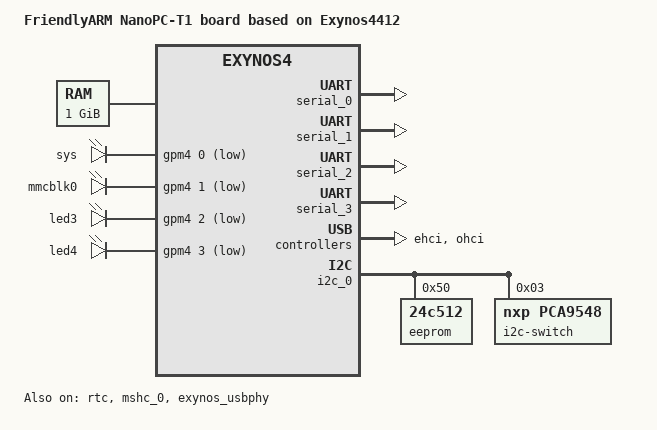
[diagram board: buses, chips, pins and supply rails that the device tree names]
/*
 * FriendlyARM's Exynos4412 based NanoPC-T1 board device tree source
 *
 * Copyright (c) 2025
 *
 * Device tree source file for FriendlyARM's NanoPC-T1 board which is based on
 * Samsung's Exynos4412 SoC.
 *
 * This program is free software; you can redistribute it and/or modify
 * it under the terms of the GNU General Public License version 2 as
 * published by the Free Software Foundation.
*/

/dts-v1/;
#include "exynos4412.dtsi"
#include <dt-bindings/gpio/gpio.h>

/ {
	model = "FriendlyARM NanoPC-T1 board based on Exynos4412";
	compatible = "friendlyarm,nanopc-t1", "samsung,exynos4412", "samsung,exynos4";

	chosen {
		stdout-path = &serial_0;
	};

	memory@40000000 {
		device_type = "memory";
		reg = <0x40000000 0x40000000>;
	};

	leds {
		compatible = "gpio-leds";

		led1 {
			label = "sys";
			gpios = <&gpm4 0 GPIO_ACTIVE_LOW>;
			default-state = "off";
			linux,default-trigger = "heartbeat";
		};

		led2 {
			label = "mmcblk0";
			gpios = <&gpm4 1 GPIO_ACTIVE_LOW>;
			default-state = "off";
			linux,default-trigger = "mmc0";
		};

		led3 {
			label = "led3";
			gpios = <&gpm4 2 GPIO_ACTIVE_LOW>;
			default-state = "off";
		};

		led4 {
			label = "led4";
			gpios = <&gpm4 3 GPIO_ACTIVE_LOW>;
			default-state = "off";
		};
	};

	fixed-rate-clocks {
		xxti {
			compatible = "samsung,clock-xxti";
			clock-frequency = <0>;
		};

		xusbxti {
			compatible = "samsung,clock-xusbxti";
			clock-frequency = <24000000>;
		};
	};
};

&rtc {
	status = "okay";
};

&sdhci_2 {
	bus-width = <4>;
	pinctrl-0 = <&sd2_clk &sd2_cmd &sd2_cd &sd2_bus4>;
	pinctrl-names = "default";
	status = "disabled";
};

&mshc_0 {
	pinctrl-0 = <&sd4_clk &sd4_cmd &sd4_bus4 &sd4_bus8>;
	pinctrl-names = "default";
	broken-cd;
	card-detect-delay = <200>;
	samsung,dw-mshc-ciu-div = <3>;
	samsung,dw-mshc-sdr-timing = <2 3>;
	samsung,dw-mshc-ddr-timing = <1 2>;
	bus-width = <8>;
	cap-mmc-highspeed;
	status = "okay";
};

&serial_0 {
	status = "okay";
};

&serial_1 {
	status = "okay";
};

&serial_2 {
	status = "okay";
};

&serial_3 {
	status = "okay";
};

&ehci {
	status = "okay";
	/* In order to reset USB ethernet */
	samsung,vbus-gpio = <&gpm2 4 GPIO_ACTIVE_HIGH>;

	port@0 {
		status = "okay";
	};

	port@1 {
		status = "okay";
	};

	port@2 {
		status = "okay";
	};
};

&ohci {
	status = "okay";
	port@0 {
		status = "okay";
	};
};

&exynos_usbphy {
	status = "okay";
};

&i2c_0 {
	status = "okay";
	samsung,i2c-max-bus-freq = <200000>;

	eeprom@50 {
		compatible = "24c512";
		reg = <0x50>;
	};

	i2c-switch@03 {
		compatible = "nxp,pca9548";
		#address-cells = <1>;
		#size-cells = <0>;
		reg = <0x03>;

		i2c@0 {
			#address-cells = <1>;
			#size-cells = <0>;
			reg = <0>;
			i2c-mux-idle-disconnect;
		};

		i2c@1 {
			#address-cells = <1>;
			#size-cells = <0>;
			reg = <1>;
			i2c-mux-idle-disconnect;
		};

		i2c@2 {
			#address-cells = <1>;
			#size-cells = <0>;
			reg = <2>;
			i2c-mux-idle-disconnect;
		};
	};
};

